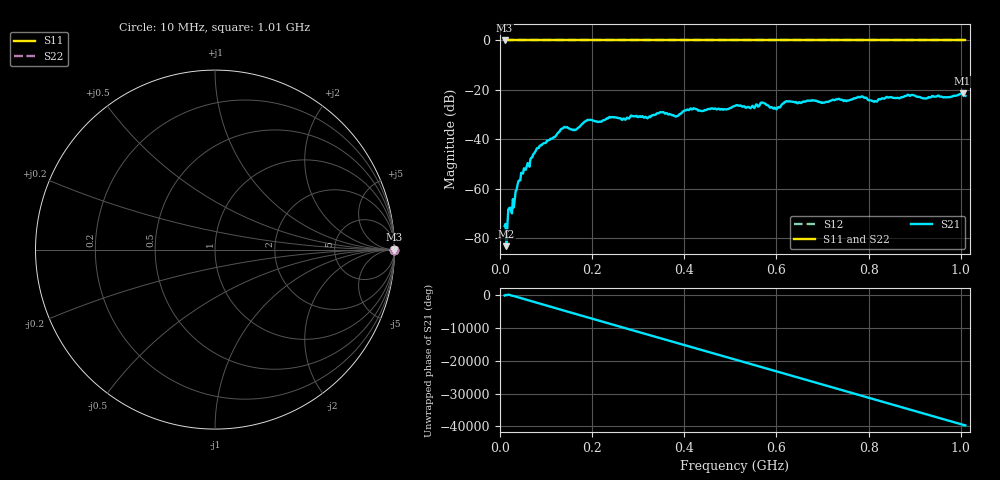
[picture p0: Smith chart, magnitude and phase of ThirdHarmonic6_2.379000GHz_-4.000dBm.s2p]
! 8/17/2025 3:46:32 AM
! C:\ANRITSUVNA\TEMP\TEMP.S2P
! CHANNEL.1
! TR.MEASUREMENT
! RAW.DATA
! RF.CORRECTION.OFF
! AVERAGING.OFF
! IF.BANDWIDTH: 5KHZ
! SWEEPTYPE:  FREQ.SWEEP(Linear)
! Reference Plane Port Info
! PORT:  PORT1  PORT2
! DISTANCE:  0  m  0  m
! TIME:  0  s  0  s
! PHASE.OFFSET:  0  deg.  0  deg.
! LOSS:  0  dB  0  dB
! REF.LOSS:  0  dB  0  dB
! REF.FREQ:  0  Hz  0  Hz
! Power Info
! POWER:  -20  dBm  -20  dBm
! EFF.POWER:  -20  dBm  -20  dBm
! SOURCE.ATTEN:  0  dB  0  dB
! TEST.ATTEN:  0  dB  0  dB
# GHZ S RI R 50.0
! FREQ.GHZ  S11RE  S11IM  S21RE  S21IM  S12RE  S12IM  S22RE  S22IM
!; PortSelection: Port_12
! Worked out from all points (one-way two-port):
!   501 points, 10 MHz to 1.01 GHz, reference 50 ohm
!   highest |S21| = -21.38 dB at 1.004 GHz (marker M1); lowest = -83.1 dB at 14 MHz (marker M2)
!   lowest |S11| = 0.0 dB at 10 MHz (marker M3)
!   |S11| at or under -10 dB: nowhere
!   |S22| runs from 0.0 to 0.0 dB; largest |S21 - S12| = 1.1
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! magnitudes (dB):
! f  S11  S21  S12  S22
! 10 MHz  0.0  -75.0  0.0  0.0
! 14 MHz  0.0  -83.1  0.0  0.0
! 20 MHz  0.0  -67.8  0.0  0.0
! 28 MHz  0.0  -64.1  0.0  0.0
! 44 MHz  0.0  -56.5  0.0  0.0
! 78 MHz  0.0  -44.4  0.0  0.0
! 136 MHz  0.0  -35.6  0.0  0.0
! 162 MHz  0.0  -36.3  0.0  0.0
! 178 MHz  0.0  -33.8  0.0  0.0
! 344 MHz  0.0  -29.4  0.0  0.0
! 382 MHz  0.0  -30.7  0.0  0.0
! 416 MHz  0.0  -27.9  0.0  0.0
! 510 MHz  0.0  -26.5  0.0  0.0
! 570 MHz  0.0  -25.1  0.0  0.0
! 596 MHz  0.0  -27.2  0.0  0.0
! 622 MHz  0.0  -24.5  0.0  0.0
! 678 MHz  0.0  -24.1  0.0  0.0
! 784 MHz  0.0  -22.7  0.0  0.0
! 814 MHz  0.0  -24.5  0.0  0.0
! 844 MHz  0.0  -23.0  0.0  0.0
! 1.004 GHz  0.0  -21.4  0.0  0.0
! 1.01 GHz  0.0  -22.4  0.0  0.0
